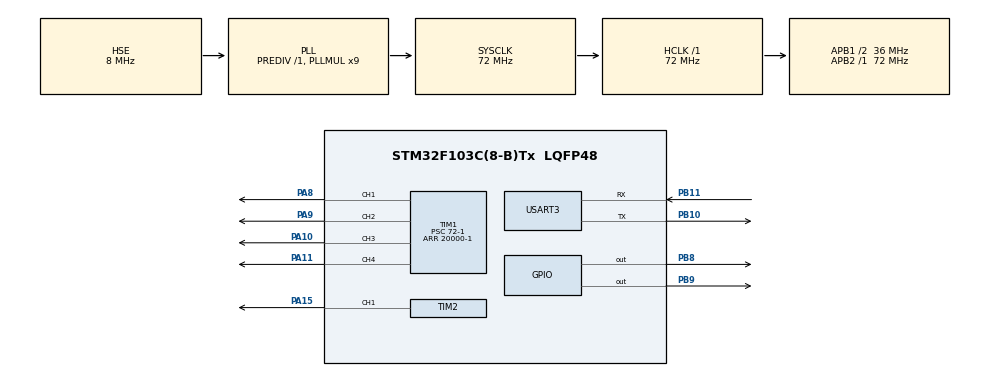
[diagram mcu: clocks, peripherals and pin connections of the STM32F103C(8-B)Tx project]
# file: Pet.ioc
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Mcu.Family=STM32F1
Mcu.Name=STM32F103C(8-B)Tx
Mcu.Package=LQFP48
NVIC.PriorityGroup=NVIC_PRIORITYGROUP_4
PA10.Signal=S_TIM1_CH3
PA11.Signal=S_TIM1_CH4
PA13.Mode=Serial_Wire
PA13.Signal=SYS_JTMS-SWDIO
PA14.Mode=Serial_Wire
PA14.Signal=SYS_JTCK-SWCLK
PA15.Signal=S_TIM2_CH1_ETR
PA8.Signal=S_TIM1_CH1
PA9.Signal=S_TIM1_CH2
PB10.Mode=Asynchronous
PB10.Signal=USART3_TX
PB11.Mode=Asynchronous
PB11.Signal=USART3_RX
PB8.GPIO_ModeDefaultOutputPP=GPIO_MODE_OUTPUT_OD
PB8.GPIO_PuPd=GPIO_NOPULL
PB8.Signal=GPIO_Output
PB9.GPIO_ModeDefaultOutputPP=GPIO_MODE_OUTPUT_OD
PB9.GPIO_PuPd=GPIO_NOPULL
PB9.Signal=GPIO_Output
PD0-OSC_IN.Mode=HSE-External-Oscillator
PD0-OSC_IN.Signal=RCC_OSC_IN
PD1-OSC_OUT.Mode=HSE-External-Oscillator
PD1-OSC_OUT.Signal=RCC_OSC_OUT
ProjectManager.HeapSize=0x200
ProjectManager.StackSize=0x400
ProjectManager.TargetToolchain=MDK-ARM V5.32
RCC.AHBFreq_Value=72000000
RCC.APB1CLKDivider=RCC_HCLK_DIV2
RCC.APB1Freq_Value=36000000
RCC.APB1TimFreq_Value=72000000
RCC.APB2Freq_Value=72000000
RCC.APB2TimFreq_Value=72000000
RCC.HCLKFreq_Value=72000000
RCC.PLLMUL=RCC_PLL_MUL9
RCC.PLLSourceVirtual=RCC_PLLSOURCE_HSE
RCC.SYSCLKFreq_VALUE=72000000
RCC.SYSCLKSource=RCC_SYSCLKSOURCE_PLLCLK
RCC.USBFreq_Value=72000000
SH.S_TIM1_CH1.0=TIM1_CH1,PWM Generation1 CH1
SH.S_TIM1_CH2.0=TIM1_CH2,PWM Generation2 CH2
SH.S_TIM1_CH3.0=TIM1_CH3,PWM Generation3 CH3
SH.S_TIM1_CH4.0=TIM1_CH4,PWM Generation4 CH4
SH.S_TIM2_CH1_ETR.0=TIM2_CH1,PWM Generation1 CH1
TIM1.AutoReloadPreload=TIM_AUTORELOAD_PRELOAD_DISABLE
TIM1.Channel-PWM\ Generation1\ CH1=TIM_CHANNEL_1
TIM1.Channel-PWM\ Generation2\ CH2=TIM_CHANNEL_2
TIM1.Channel-PWM\ Generation3\ CH3=TIM_CHANNEL_3
TIM1.Channel-PWM\ Generation4\ CH4=TIM_CHANNEL_4
TIM1.CounterMode=TIM_COUNTERMODE_UP
TIM1.Period=20000-1
TIM1.Prescaler=72-1
TIM1.RepetitionCounter=0
TIM2.AutoReloadPreload=TIM_AUTORELOAD_PRELOAD_DISABLE
TIM2.Channel-PWM\ Generation1\ CH1=TIM_CHANNEL_1
TIM2.CounterMode=TIM_COUNTERMODE_UP
TIM2.Period=20000-1
TIM2.Prescaler=72-1
USART3.VirtualMode=VM_ASYNC
VP_TIM1_VS_ClockSourceINT.Mode=Internal
VP_TIM2_VS_ClockSourceINT.Mode=Internal
VP_TIM3_VS_ClockSourceINT.Mode=Internal
board=custom

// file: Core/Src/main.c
#include "main.h"
#include "tim.h"
#include "usart.h"
#include "gpio.h"

/* USER CODE BEGIN Includes */
#include "OLED.h"
#include "servo.h"
#include "asr.h"
#include "dog_state.h"
#include "dog_motion.h"
#include "face_data.h"
/* USER CODE END Includes */

void SystemClock_Config(void);

/* USER CODE BEGIN 0 */
#define APP_TEST_RELIEF_PRESSURE_ONLY 0

static void App_ShowBootScreen(void)
{
    OLED_Clear();
    OLED_ShowImage(32, 0, FACE_WIDTH, FACE_HEIGHT, g_faceSleep);
    OLED_Update();
}

static void App_HandleAsrCommand(void)
{
#if APP_TEST_RELIEF_PRESSURE_ONLY
    return;
#endif

    DogCommand_t command = ASR_GetLastCommand();

    if (command == DOG_CMD_NONE)
    {
        return;
    }

    DogState_SetCommand(command);
    ASR_ClearLastCommand();
}

static void App_SyncMotionState(void)
{
    static DogState_t s_lastMotionState = (DogState_t)0xFF;
    DogState_t currentState = DogState_GetCurrent();

    if (currentState == s_lastMotionState)
    {
        return;
    }

    DogMotion_SetState(currentState);
    s_lastMotionState = currentState;
}
/* USER CODE END 0 */

int main(void)
{
    HAL_Init();
    SystemClock_Config();

    MX_GPIO_Init();
    MX_TIM1_Init();
    MX_TIM2_Init();
    MX_USART3_UART_Init();
    MX_TIM3_Init();

    /* USER CODE BEGIN 2 */
    OLED_Init();
    Servo_Init();
    Servo_StopAll();
    ASR_Init();
    DogState_Init();
    DogMotion_Init();
#if APP_TEST_RELIEF_PRESSURE_ONLY
    DogState_SetCommand(DOG_CMD_RELIEF_PRESSURE);
#else
    DogState_SetCommand(DOG_CMD_IDLE);
#endif
    DogState_Task(HAL_GetTick());
    App_SyncMotionState();
    App_ShowBootScreen();
    HAL_Delay(500);
    /* USER CODE END 2 */

    /* USER CODE BEGIN WHILE */
    while (1)
    {
#if !APP_TEST_RELIEF_PRESSURE_ONLY
        ASR_Task();
        App_HandleAsrCommand();
#endif
        DogState_Task(HAL_GetTick());
        App_SyncMotionState();
        DogMotion_Task(HAL_GetTick());
    }
}

void SystemClock_Config(void)
{
    RCC_OscInitTypeDef RCC_OscInitStruct = {0};
    RCC_ClkInitTypeDef RCC_ClkInitStruct = {0};

    RCC_OscInitStruct.OscillatorType = RCC_OSCILLATORTYPE_HSE;
    RCC_OscInitStruct.HSEState = RCC_HSE_ON;
    RCC_OscInitStruct.HSEPredivValue = RCC_HSE_PREDIV_DIV1;
    RCC_OscInitStruct.HSIState = RCC_HSI_ON;
    RCC_OscInitStruct.PLL.PLLState = RCC_PLL_ON;
    RCC_OscInitStruct.PLL.PLLSource = RCC_PLLSOURCE_HSE;
    RCC_OscInitStruct.PLL.PLLMUL = RCC_PLL_MUL9;
    if (HAL_RCC_OscConfig(&RCC_OscInitStruct) != HAL_OK)
    {
        Error_Handler();
    }

    RCC_ClkInitStruct.ClockType = RCC_CLOCKTYPE_HCLK | RCC_CLOCKTYPE_SYSCLK
                                | RCC_CLOCKTYPE_PCLK1 | RCC_CLOCKTYPE_PCLK2;
    RCC_ClkInitStruct.SYSCLKSource = RCC_SYSCLKSOURCE_PLLCLK;
    RCC_ClkInitStruct.AHBCLKDivider = RCC_SYSCLK_DIV1;
    RCC_ClkInitStruct.APB1CLKDivider = RCC_HCLK_DIV2;
    RCC_ClkInitStruct.APB2CLKDivider = RCC_HCLK_DIV1;

    if (HAL_RCC_ClockConfig(&RCC_ClkInitStruct, FLASH_LATENCY_2) != HAL_OK)
    {
        Error_Handler();
    }
}

void Error_Handler(void)
{
    __disable_irq();
    while (1)
    {
    }
}
